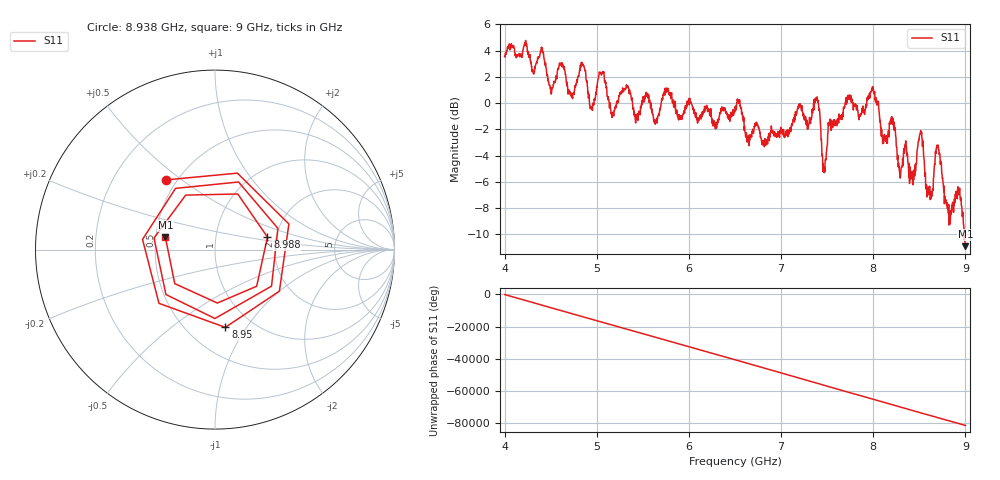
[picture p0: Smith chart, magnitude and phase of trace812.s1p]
! Created with skrf 1.8.0 (http://scikit-rf.org).
# Hz S RI R 50.0
!freq ReS11 ImS11
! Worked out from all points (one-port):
!   1601 points, 4 GHz to 9 GHz, reference 50 ohm
!   lowest |S11| = -10.9 dB at 9 GHz (marker M1), VSWR 1.80, Z = 28.1 + j4.23 ohm
!   |S11| at or under -10 dB: 8.986111 GHz to end of sweep
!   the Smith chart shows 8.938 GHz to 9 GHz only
!   S11 on the Smith chart (normalised r, x): 8.938 GHz: 0.44, +0.44; 8.95 GHz: 0.75, -0.81; 8.988 GHz: 1.80, +0.28; 9 GHz: 0.56, +0.08
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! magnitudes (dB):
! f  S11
! 4 GHz  3.6
! 4.625 GHz  2.8
! 4.728 GHz  0.7
! 4.853 GHz  2.9
! 4.944 GHz  -0.4
! 5.053 GHz  2.2
! 5.162 GHz  -0.8
! 5.25 GHz  0.8
! 5.875 GHz  -1.0
! 6.5 GHz  -0.4
! 6.816 GHz  -3.3
! 7.125 GHz  -1.5
! 7.384 GHz  0.4
! 7.469 GHz  -5.3
! 7.531 GHz  -1.5
! 7.75 GHz  0.3
! 7.994 GHz  1.3
! 8.112 GHz  -3.1
! 8.375 GHz  -4.4
! 8.428 GHz  -6.2
! 8.516 GHz  -2.1
! 8.6 GHz  -6.4
! 8.7 GHz  -3.3
! 8.812 GHz  -8.0
! 8.938 GHz  -6.5
! 8.95 GHz  -7.2
! 8.988 GHz  -10.4
! 9 GHz  -10.9
